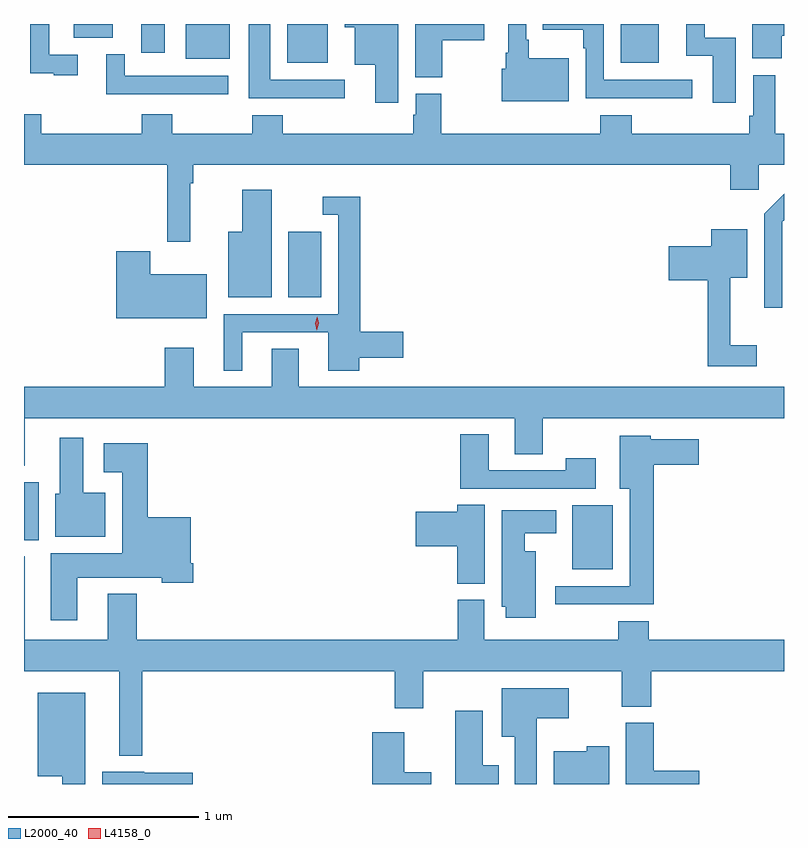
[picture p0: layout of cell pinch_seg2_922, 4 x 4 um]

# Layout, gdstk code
import gdstk
lib = gdstk.Library(unit=1e-6, precision=1e-09)
def R(c, l, rs):  # rectangles x0, y0, x1, y1
    for r in rs: c.add(gdstk.rectangle(r[:2], r[2:], *l))
def P(c, l, *ps):  # polygons
    for p in ps: c.add(gdstk.Polygon(p, *l))
L2000_40 = (2000, 40)
L4158_0 = (4158, 0)

pinch_seg2_922 = lib.new_cell('pinch_seg2_922')
R(pinch_seg2_922, L2000_40, [(324.686,645.509,324.898,645.844), (321.8,645.662,321.877,645.967), (323.192,646.94,323.365,647.284), (323.186,648.173,323.398,648.378), (324.941,648.173,325.141,648.378), (322.652,648.194,322.882,648.378), (322.418,648.228,322.54,648.378), (322.061,648.305,322.267,648.378)])
P(pinch_seg2_922, L2000_40, [(325.318,648.084),(324.852,648.084),(324.852,648.378),(324.529,648.378),(324.529,648.347),(324.744,648.347),(324.744,648.251),(324.756,648.251),(324.756,647.988),(325.081,647.988),(325.081,647.987),(325.318,647.987)],
  [(322.084,648.216),(321.933,648.216),(321.933,648.378),(321.832,648.378),(321.832,648.119),(321.956,648.119),(321.956,648.108),(322.084,648.108)],
  [(325.787,648.316),(325.8,648.316),(325.8,648.378),(325.634,648.378),(325.634,648.198),(325.787,648.198)],
  [(323.488,648.084),(323.095,648.084),(323.095,648.378),(322.982,648.378),(322.982,647.987),(323.488,647.987)],
  [(325.546,648.306),(325.384,648.306),(325.384,648.378),(325.286,648.378),(325.286,648.21),(325.424,648.21),(325.424,647.964),(325.546,647.964)],
  [(324.667,648.199),(324.457,648.199),(324.457,648.295),(324.444,648.295),(324.444,648.378),(324.348,648.378),(324.348,648.226),(324.336,648.226),(324.336,648.143),(324.314,648.143),(324.314,647.972),(324.667,647.972)],
  [(323.77,648.378),(323.489,648.378),(323.489,648.362),(323.54,648.362),(323.54,648.164),(323.648,648.164),(323.648,647.964),(323.77,647.964)],
  [(324,648.293),(324.223,648.293),(324.223,648.378),(323.858,648.378),(323.858,648.097),(324,648.097)],
  [(322.876,648.105),(322.329,648.105),(322.329,648.22),(322.232,648.22),(322.232,648.009),(322.876,648.009)],
  [(322.676,647.54),(322.691,647.54),(322.691,647.636),(325.517,647.636),(325.517,647.505),(325.668,647.505),(325.668,647.636),(325.8,647.636),(325.8,647.8),(325.754,647.8),(325.754,648.109),(325.638,648.109),(325.638,647.896),(325.618,647.896),(325.618,647.8),(324.998,647.8),(324.998,647.899),(324.833,647.899),(324.833,647.8),(323.997,647.8),(323.997,648.012),(323.861,648.012),(323.861,647.901),(323.849,647.901),(323.849,647.8),(323.162,647.8),(323.162,647.899),(323.002,647.899),(323.002,647.8),(322.581,647.8),(322.581,647.902),(322.421,647.902),(322.421,647.8),(321.89,647.8),(321.89,647.902),(321.8,647.902),(321.8,647.636),(322.555,647.636),(322.555,647.232),(322.676,647.232)],
  [(323.104,647.506),(322.949,647.506),(322.949,647.284),(322.874,647.284),(322.874,646.94),(323.104,646.94)],
  [(325.791,647.337),(325.8,647.346),(325.8,647.484),(325.695,647.379),(325.695,646.884),(325.791,646.884)],
  [(322.948,646.755),(323.402,646.755),(323.402,646.554),(323.564,646.554),(323.564,646.622),(323.797,646.622),(323.797,646.757),(323.57,646.757),(323.57,647.47),(323.373,647.47),(323.373,647.373),(323.454,647.373),(323.454,646.851),(322.85,646.851),(322.85,646.554),(322.948,646.554)],
  [(325.657,646.687),(325.517,646.687),(325.517,647.042),(325.606,647.042),(325.606,647.299),(325.418,647.299),(325.418,647.208),(325.194,647.208),(325.194,647.03),(325.399,647.03),(325.399,646.578),(325.657,646.578)],
  [(322.762,647.062),(322.464,647.062),(322.464,647.182),(322.286,647.182),(322.286,646.829),(322.762,646.829)],
  [(323.245,646.67),(323.105,646.67),(323.105,646.468),(322.693,646.468),(322.693,646.675),(322.541,646.675),(322.541,646.468),(321.8,646.468),(321.8,646.052),(321.805,646.052),(321.805,646.304),(324.383,646.304),(324.383,646.114),(324.531,646.114),(324.531,646.304),(325.8,646.304),(325.8,646.468),(323.245,646.468)],
  [(324.808,646.093),(324.652,646.093),(324.652,646.029),(324.247,646.029),(324.247,646.219),(324.095,646.219),(324.095,645.933),(324.808,645.933)],
  [(325.115,646.058),(325.351,646.058),(325.351,646.192),(325.098,646.192),(325.098,646.21),(324.935,646.21),(324.935,645.932),(324.989,645.932),(324.989,645.42),(324.597,645.42),(324.597,645.323),(325.115,645.323)],
  [(322.228,645.91),(322.111,645.91),(322.111,646.201),(321.989,646.201),(321.989,645.906),(321.965,645.906),(321.965,645.68),(322.228,645.68)],
  [(322.081,645.464),(322.524,645.464),(322.524,645.437),(322.691,645.437),(322.691,645.541),(322.678,645.541),(322.678,645.781),(322.451,645.781),(322.451,646.171),(322.221,646.171),(322.221,646.019),(322.316,646.019),(322.316,645.592),(321.941,645.592),(321.941,645.24),(322.081,645.24)],
  [(324.226,645.848),(324.08,645.848),(324.08,645.812),(323.862,645.812),(323.862,645.629),(324.08,645.629),(324.08,645.433),(324.226,645.433)],
  [(324.493,645.604),(324.436,645.604),(324.436,645.698),(324.601,645.698),(324.601,645.82),(324.314,645.82),(324.314,645.312),(324.335,645.312),(324.335,645.252),(324.493,645.252)],
  [(322.423,644.972),(323.75,644.972),(323.75,644.778),(323.902,644.778),(323.902,644.972),(324.947,644.972),(324.947,644.785),(325.1,644.785),(325.1,644.972),(325.8,644.972),(325.8,645.136),(325.088,645.136),(325.088,645.235),(324.928,645.235),(324.928,645.136),(324.223,645.136),(324.223,645.348),(324.083,645.348),(324.083,645.136),(322.394,645.136),(322.394,645.379),(322.241,645.379),(322.241,645.136),(321.805,645.136),(321.805,645.577),(321.8,645.577),(321.8,644.972),(322.301,644.972),(322.301,644.528),(322.423,644.528)],
  [(324.499,644.723),(324.667,644.723),(324.667,644.881),(324.314,644.881),(324.314,644.627),(324.383,644.627),(324.383,644.378),(324.499,644.378)],
  [(322.123,644.857),(321.872,644.857),(321.872,644.42),(322.002,644.42),(322.002,644.378),(322.123,644.378)],
  [(324.298,644.476),(324.214,644.476),(324.214,644.764),(324.071,644.764),(324.071,644.378),(324.298,644.378)],
  [(325.355,644.449),(325.115,644.449),(325.115,644.7),(324.968,644.7),(324.968,644.378),(325.355,644.378)],
  [(323.944,644.439),(323.8,644.439),(323.8,644.65),(323.633,644.65),(323.633,644.378),(323.944,644.378)],
  [(324.88,644.578),(324.762,644.578),(324.762,644.551),(324.587,644.551),(324.587,644.378),(324.88,644.378)],
  [(322.687,644.438),(322.434,644.438),(322.434,644.443),(322.211,644.443),(322.211,644.378),(322.687,644.378)])
P(pinch_seg2_922, L4158_0, [(323.34,646.766),(323.34,646.767),(323.332,646.803),(323.344,646.838),(323.344,646.838),(323.344,646.838),(323.352,646.802),(323.341,646.767)])

lib.write_gds('pinch_seg2_922.gds')
